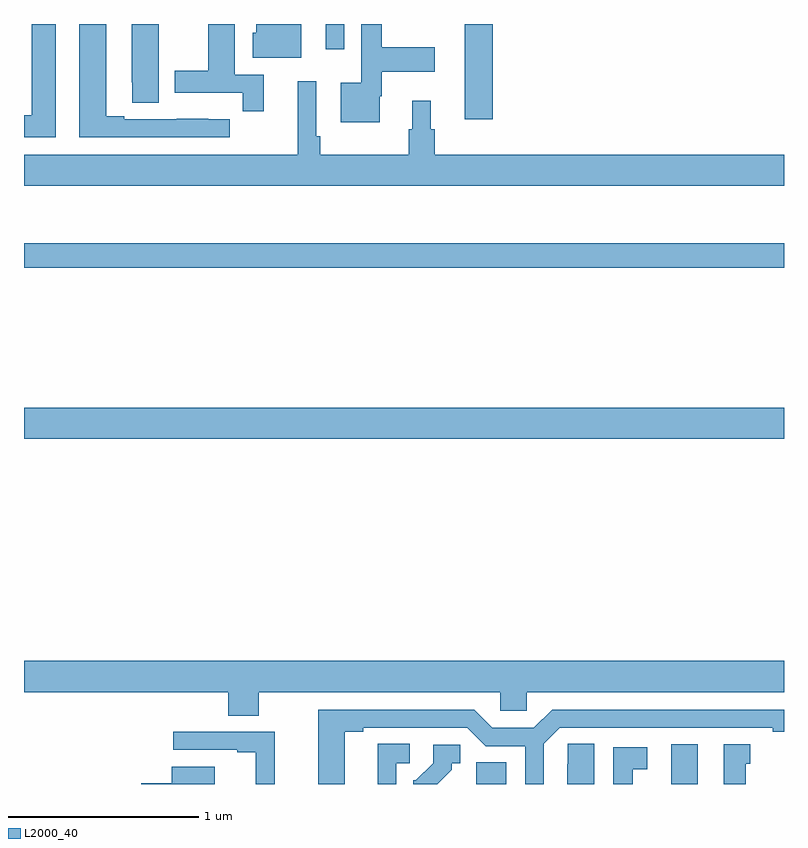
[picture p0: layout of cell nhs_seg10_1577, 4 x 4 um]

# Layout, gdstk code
import gdstk
lib = gdstk.Library(unit=1e-6, precision=1e-09)
def R(c, l, rs):  # rectangles x0, y0, x1, y1
    for r in rs: c.add(gdstk.rectangle(r[:2], r[2:], *l))
def P(c, l, *ps):  # polygons
    for p in ps: c.add(gdstk.Polygon(p, *l))
L2000_40 = (2000, 40)

nhs_seg10_1577 = lib.new_cell('nhs_seg10_1577')
R(nhs_seg10_1577, L2000_40, [(195.38,1298.5,195.538,1298.615), (196.406,1298.5,196.546,1298.71), (193,1300.316,197,1300.48), (193,1301.218,197,1301.347), (195.32,1302,195.467,1302.5), (194.588,1302.366,194.685,1302.5)])
P(nhs_seg10_1577, L2000_40, [(194.458,1302.5),(194.222,1302.5),(194.222,1302.453),(194.204,1302.453),(194.204,1302.323),(194.458,1302.323)],
  [(194.872,1302.12),(194.884,1302.12),(194.884,1302.248),(195.163,1302.248),(195.163,1302.378),(194.884,1302.378),(194.884,1302.5),(194.775,1302.5),(194.775,1302.19),(194.666,1302.19),(194.666,1301.984),(194.872,1301.984)],
  [(194.083,1302),(193.97,1302),(193.97,1302.001),(193.804,1302.001),(193.804,1302),(193.528,1302),(193.528,1302.015),(193.432,1302.015),(193.432,1302.5),(193.292,1302.5),(193.292,1301.904),(194.083,1301.904)],
  [(193.168,1302.5),(193.04,1302.5),(193.04,1302.02),(193,1302.02),(193,1301.904),(193.168,1301.904)],
  [(193.708,1302.5),(193.568,1302.5),(193.568,1302.193),(193.569,1302.193),(193.569,1302.085),(193.708,1302.085)],
  [(194.261,1302.234),(194.11,1302.234),(194.11,1302.5),(193.97,1302.5),(193.97,1302.255),(193.793,1302.255),(193.793,1302.138),(194.152,1302.138),(194.152,1302.042),(194.261,1302.042)],
  [(197,1301.812),(195.161,1301.812),(195.161,1301.946),(195.142,1301.946),(195.142,1302.097),(195.044,1302.097),(195.044,1301.946),(195.025,1301.946),(195.025,1301.812),(194.558,1301.812),(194.558,1301.908),(194.538,1301.908),(194.538,1302.199),(194.441,1302.199),(194.441,1301.812),(193,1301.812),(193,1301.648),(197,1301.648)],
  [(194.235,1298.984),(195.507,1298.984),(195.507,1298.886),(195.645,1298.886),(195.645,1298.984),(197,1298.984),(197,1299.148),(193,1299.148),(193,1298.984),(194.075,1298.984),(194.075,1298.86),(194.235,1298.86)],
  [(194.689,1298.776),(194.785,1298.776),(194.785,1298.796),(195.333,1298.796),(195.429,1298.7),(195.639,1298.7),(195.639,1298.5),(195.735,1298.5),(195.735,1298.712),(195.819,1298.796),(196.94,1298.796),(196.94,1298.776),(197,1298.776),(197,1298.892),(195.779,1298.892),(195.683,1298.796),(195.465,1298.796),(195.369,1298.892),(194.549,1298.892),(194.549,1298.5),(194.689,1298.5)],
  [(194.319,1298.775),(193.785,1298.775),(193.785,1298.679),(194.123,1298.679),(194.123,1298.667),(194.219,1298.667),(194.219,1298.5),(194.319,1298.5)],
  [(196,1298.711),(195.861,1298.711),(195.861,1298.603),(195.86,1298.603),(195.86,1298.5),(196,1298.5)],
  [(194.958,1298.61),(195.031,1298.61),(195.031,1298.711),(194.861,1298.711),(194.861,1298.5),(194.958,1298.5)],
  [(196.798,1298.607),(196.822,1298.607),(196.822,1298.71),(196.682,1298.71),(196.682,1298.5),(196.798,1298.5)],
  [(195.25,1298.575),(195.25,1298.61),(195.295,1298.61),(195.295,1298.706),(195.153,1298.706),(195.153,1298.61),(195.063,1298.52),(195.048,1298.52),(195.048,1298.5),(195.175,1298.5)],
  [(196.204,1298.578),(196.279,1298.578),(196.279,1298.694),(196.1,1298.694),(196.1,1298.5),(196.204,1298.5)],
  [(194.005,1298.59),(193.778,1298.59),(193.778,1298.503),(193.617,1298.503),(193.617,1298.5),(194.005,1298.5)])

lib.write_gds('nhs_seg10_1577.gds')
